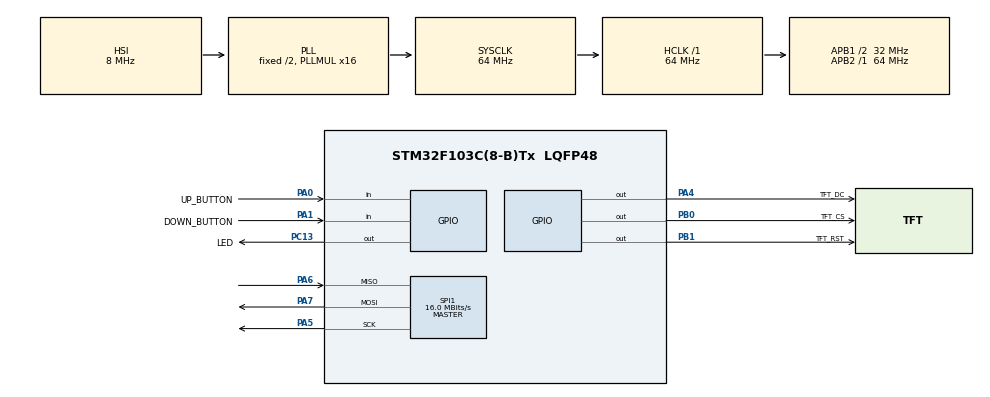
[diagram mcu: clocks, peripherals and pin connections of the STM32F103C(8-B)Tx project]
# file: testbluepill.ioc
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Dma.Request0=SPI1_TX
Dma.SPI1_TX.0.Direction=DMA_MEMORY_TO_PERIPH
Dma.SPI1_TX.0.Instance=DMA1_Channel3
Dma.SPI1_TX.0.MemDataAlignment=DMA_MDATAALIGN_BYTE
Dma.SPI1_TX.0.MemInc=DMA_MINC_ENABLE
Dma.SPI1_TX.0.Mode=DMA_NORMAL
Dma.SPI1_TX.0.PeriphDataAlignment=DMA_PDATAALIGN_BYTE
Dma.SPI1_TX.0.PeriphInc=DMA_PINC_DISABLE
Dma.SPI1_TX.0.Priority=DMA_PRIORITY_HIGH
Mcu.Family=STM32F1
Mcu.Name=STM32F103C(8-B)Tx
Mcu.Package=LQFP48
NVIC.DMA1_Channel3_IRQn=true\:0\:0\:false\:false\:true\:false\:true
NVIC.PriorityGroup=NVIC_PRIORITYGROUP_4
NVIC.TIM2_IRQn=true\:0\:0\:false\:false\:true\:true\:true
PA0-WKUP.GPIO_Label=UP_BUTTON
PA0-WKUP.GPIO_PuPd=GPIO_PULLUP
PA0-WKUP.Signal=GPIO_Input
PA1.GPIO_Label=DOWN_BUTTON
PA1.GPIO_PuPd=GPIO_PULLUP
PA1.Signal=GPIO_Input
PA13.Mode=Serial_Wire
PA13.Signal=SYS_JTMS-SWDIO
PA14.Mode=Serial_Wire
PA14.Signal=SYS_JTCK-SWCLK
PA4.GPIO_Label=TFT_DC
PA4.Signal=GPIO_Output
PA5.Mode=Full_Duplex_Master
PA5.Signal=SPI1_SCK
PA6.Mode=Full_Duplex_Master
PA6.Signal=SPI1_MISO
PA7.Mode=Full_Duplex_Master
PA7.Signal=SPI1_MOSI
PB0.GPIO_Label=TFT_CS
PB0.Signal=GPIO_Output
PB1.GPIO_Label=TFT_RST
PB1.Signal=GPIO_Output
PC13-TAMPER-RTC.GPIO_Label=LED
PC13-TAMPER-RTC.Signal=GPIO_Output
ProjectManager.HeapSize=0x200
ProjectManager.StackSize=0x400
ProjectManager.TargetToolchain=STM32CubeIDE
RCC.AHBFreq_Value=64000000
RCC.APB1CLKDivider=RCC_HCLK_DIV2
RCC.APB1Freq_Value=32000000
RCC.APB1TimFreq_Value=64000000
RCC.APB2Freq_Value=64000000
RCC.APB2TimFreq_Value=64000000
RCC.HCLKFreq_Value=64000000
RCC.PLLMUL=RCC_PLL_MUL16
RCC.SYSCLKFreq_VALUE=64000000
RCC.SYSCLKSource=RCC_SYSCLKSOURCE_PLLCLK
RCC.USBFreq_Value=64000000
SPI1.BaudRatePrescaler=SPI_BAUDRATEPRESCALER_4
SPI1.CalculateBaudRate=16.0 MBits/s
SPI1.Direction=SPI_DIRECTION_2LINES
SPI1.Mode=SPI_MODE_MASTER
SPI1.VirtualType=VM_MASTER
TIM2.Period=300
TIM2.Prescaler=63999
VP_TIM2_VS_ClockSourceINT.Mode=Internal
board=custom

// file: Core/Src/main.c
/* USER CODE BEGIN Header */
/**
  ******************************************************************************
  * @file           : main.c
  * @brief          : Main program body
  ******************************************************************************
  * @attention
  *
  * Copyright (c) 2022 STMicroelectronics.
  * All rights reserved.
  *
  * This software is licensed under terms that can be found in the LICENSE file
  * in the root directory of this software component.
  * If no LICENSE file comes with this software, it is provided AS-IS.
  *
  ******************************************************************************
  */
/* USER CODE END Header */
#include "main.h"

/* USER CODE BEGIN Includes */
#include "spi_ili9341.h"
#include "snake.h"
/* USER CODE END Includes */

SPI_HandleTypeDef hspi1;
DMA_HandleTypeDef hdma_spi1_tx;

TIM_HandleTypeDef htim2;

void SystemClock_Config(void);
static void MX_GPIO_Init(void);
static void MX_SPI1_Init(void);
static void MX_DMA_Init(void);
static void MX_TIM2_Init(void);

/* USER CODE BEGIN 0 */
void HAL_SPI_TxCpltCallback(SPI_HandleTypeDef * hspi)
{
    // TX Done .. Do Something ...
	DMA_Flag = 1;
}

void HAL_TIM_PeriodElapsedCallback(TIM_HandleTypeDef *htim)
{
	timFlag = 1;
	HAL_GPIO_TogglePin(LED_GPIO_Port, LED_Pin);
}
/* USER CODE END 0 */

int main(void)
{

  /* MCU Configuration--------------------------------------------------------*/

  /* Reset of all peripherals, Initializes the Flash interface and the Systick. */
  HAL_Init();

  /* Configure the system clock */
  SystemClock_Config();

  /* Initialize all configured peripherals */
  MX_GPIO_Init();
  MX_DMA_Init();
  MX_SPI1_Init();

  MX_TIM2_Init();
  /* USER CODE BEGIN 2 */

  HAL_TIM_Base_Start_IT(&htim2);
  //MX_DMA_Init();
  //MX_SPI1_Init();
  TFT9341_ini(240, 320);

  //TFT9341_SetAddrWindow(0,0,7,7);
  /*
  DC_DATA();
  while(1){
	  HAL_SPI_Transmit_DMA(&hspi1, buf, sizeof(buf));
  }
  */

  TFT9341_FillScreen(TFT9341_WHITE);
  //стресс тест
  srand(13);
  for(uint8_t step = 0; step <= 100;step++){
	  TFT9341_FillScreen(rand() % 0xFFFF);
  }
  HAL_Delay(500);
  SnakeMain();

  /* USER CODE END 2 */

  /* Infinite loop */
  while (1)
  {

  }
}

void SystemClock_Config(void)
{
  RCC_OscInitTypeDef RCC_OscInitStruct = {0};
  RCC_ClkInitTypeDef RCC_ClkInitStruct = {0};

  /** Initializes the RCC Oscillators according to the specified parameters
  * in the RCC_OscInitTypeDef structure.
  */
  RCC_OscInitStruct.OscillatorType = RCC_OSCILLATORTYPE_HSI;
  RCC_OscInitStruct.HSIState = RCC_HSI_ON;
  RCC_OscInitStruct.HSICalibrationValue = RCC_HSICALIBRATION_DEFAULT;
  RCC_OscInitStruct.PLL.PLLState = RCC_PLL_ON;
  RCC_OscInitStruct.PLL.PLLSource = RCC_PLLSOURCE_HSI_DIV2;
  RCC_OscInitStruct.PLL.PLLMUL = RCC_PLL_MUL16;
  if (HAL_RCC_OscConfig(&RCC_OscInitStruct) != HAL_OK)
  {
    Error_Handler();
  }
  /** Initializes the CPU, AHB and APB buses clocks
  */
  RCC_ClkInitStruct.ClockType = RCC_CLOCKTYPE_HCLK|RCC_CLOCKTYPE_SYSCLK
                              |RCC_CLOCKTYPE_PCLK1|RCC_CLOCKTYPE_PCLK2;
  RCC_ClkInitStruct.SYSCLKSource = RCC_SYSCLKSOURCE_PLLCLK;
  RCC_ClkInitStruct.AHBCLKDivider = RCC_SYSCLK_DIV1;
  RCC_ClkInitStruct.APB1CLKDivider = RCC_HCLK_DIV2;
  RCC_ClkInitStruct.APB2CLKDivider = RCC_HCLK_DIV1;

  if (HAL_RCC_ClockConfig(&RCC_ClkInitStruct, FLASH_LATENCY_2) != HAL_OK)
  {
    Error_Handler();
  }
}

static void MX_SPI1_Init(void)
{

  /* SPI1 parameter configuration*/
  hspi1.Instance = SPI1;
  hspi1.Init.Mode = SPI_MODE_MASTER;
  hspi1.Init.Direction = SPI_DIRECTION_2LINES;
  hspi1.Init.DataSize = SPI_DATASIZE_8BIT;
  hspi1.Init.CLKPolarity = SPI_POLARITY_LOW;
  hspi1.Init.CLKPhase = SPI_PHASE_1EDGE;
  hspi1.Init.NSS = SPI_NSS_SOFT;
  hspi1.Init.BaudRatePrescaler = SPI_BAUDRATEPRESCALER_4;
  hspi1.Init.FirstBit = SPI_FIRSTBIT_MSB;
  hspi1.Init.TIMode = SPI_TIMODE_DISABLE;
  hspi1.Init.CRCCalculation = SPI_CRCCALCULATION_DISABLE;
  hspi1.Init.CRCPolynomial = 10;
  if (HAL_SPI_Init(&hspi1) != HAL_OK)
  {
    Error_Handler();
  }

}

static void MX_TIM2_Init(void)
{

  TIM_ClockConfigTypeDef sClockSourceConfig = {0};
  TIM_MasterConfigTypeDef sMasterConfig = {0};

  htim2.Instance = TIM2;
  htim2.Init.Prescaler = 63999;
  htim2.Init.CounterMode = TIM_COUNTERMODE_UP;
  htim2.Init.Period = 300;
  htim2.Init.ClockDivision = TIM_CLOCKDIVISION_DIV1;
  htim2.Init.AutoReloadPreload = TIM_AUTORELOAD_PRELOAD_DISABLE;
  if (HAL_TIM_Base_Init(&htim2) != HAL_OK)
  {
    Error_Handler();
  }
  sClockSourceConfig.ClockSource = TIM_CLOCKSOURCE_INTERNAL;
  if (HAL_TIM_ConfigClockSource(&htim2, &sClockSourceConfig) != HAL_OK)
  {
    Error_Handler();
  }
  sMasterConfig.MasterOutputTrigger = TIM_TRGO_RESET;
  sMasterConfig.MasterSlaveMode = TIM_MASTERSLAVEMODE_DISABLE;
  if (HAL_TIMEx_MasterConfigSynchronization(&htim2, &sMasterConfig) != HAL_OK)
  {
    Error_Handler();
  }

}

static void MX_DMA_Init(void)
{

  /* DMA controller clock enable */
  __HAL_RCC_DMA1_CLK_ENABLE();

  /* DMA interrupt init */
  /* DMA1_Channel3_IRQn interrupt configuration */
  HAL_NVIC_SetPriority(DMA1_Channel3_IRQn, 0, 0);
  HAL_NVIC_EnableIRQ(DMA1_Channel3_IRQn);

}

static void MX_GPIO_Init(void)
{
  GPIO_InitTypeDef GPIO_InitStruct = {0};

  /* GPIO Ports Clock Enable */
  __HAL_RCC_GPIOC_CLK_ENABLE();
  __HAL_RCC_GPIOA_CLK_ENABLE();
  __HAL_RCC_GPIOB_CLK_ENABLE();

  /*Configure GPIO pin Output Level */
  HAL_GPIO_WritePin(LED_GPIO_Port, LED_Pin, GPIO_PIN_RESET);

  /*Configure GPIO pin Output Level */
  HAL_GPIO_WritePin(TFT_DC_GPIO_Port, TFT_DC_Pin, GPIO_PIN_RESET);

  /*Configure GPIO pin Output Level */
  HAL_GPIO_WritePin(GPIOB, TFT_CS_Pin|TFT_RST_Pin, GPIO_PIN_RESET);

  /*Configure GPIO pin : LED_Pin */
  GPIO_InitStruct.Pin = LED_Pin;
  GPIO_InitStruct.Mode = GPIO_MODE_OUTPUT_PP;
  GPIO_InitStruct.Pull = GPIO_NOPULL;
  GPIO_InitStruct.Speed = GPIO_SPEED_FREQ_LOW;
  HAL_GPIO_Init(LED_GPIO_Port, &GPIO_InitStruct);

  /*Configure GPIO pins : UP_BUTTON_Pin DOWN_BUTTON_Pin */
  GPIO_InitStruct.Pin = UP_BUTTON_Pin|DOWN_BUTTON_Pin;
  GPIO_InitStruct.Mode = GPIO_MODE_INPUT;
  GPIO_InitStruct.Pull = GPIO_PULLUP;
  HAL_GPIO_Init(GPIOA, &GPIO_InitStruct);

  /*Configure GPIO pin : TFT_DC_Pin */
  GPIO_InitStruct.Pin = TFT_DC_Pin;
  GPIO_InitStruct.Mode = GPIO_MODE_OUTPUT_PP;
  GPIO_InitStruct.Pull = GPIO_NOPULL;
  GPIO_InitStruct.Speed = GPIO_SPEED_FREQ_LOW;
  HAL_GPIO_Init(TFT_DC_GPIO_Port, &GPIO_InitStruct);

  /*Configure GPIO pins : TFT_CS_Pin TFT_RST_Pin */
  GPIO_InitStruct.Pin = TFT_CS_Pin|TFT_RST_Pin;
  GPIO_InitStruct.Mode = GPIO_MODE_OUTPUT_PP;
  GPIO_InitStruct.Pull = GPIO_NOPULL;
  GPIO_InitStruct.Speed = GPIO_SPEED_FREQ_LOW;
  HAL_GPIO_Init(GPIOB, &GPIO_InitStruct);

}

void Error_Handler(void)
{
  __disable_irq();
  while (1)
  {
  }
}
